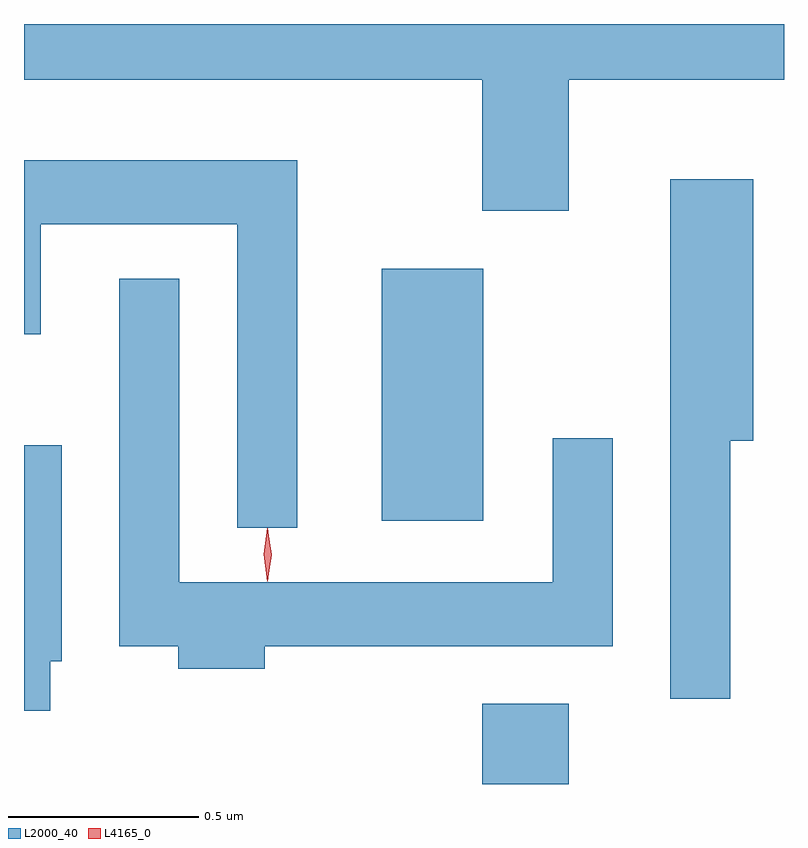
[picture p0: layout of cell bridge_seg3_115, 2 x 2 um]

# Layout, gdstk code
import gdstk
lib = gdstk.Library(unit=1e-6, precision=1e-09)
def R(c, l, rs):  # rectangles x0, y0, x1, y1
    for r in rs: c.add(gdstk.rectangle(r[:2], r[2:], *l))
def P(c, l, *ps):  # polygons
    for p in ps: c.add(gdstk.Polygon(p, *l))
L2000_40 = (2000, 40)
L4165_0 = (4165, 0)

bridge_seg3_115 = lib.new_cell('bridge_seg3_115')
R(bridge_seg3_115, L2000_40, [(1024.711,1215.183,1024.939,1215.394), (1024.446,1215.876,1024.714,1216.539)])
P(bridge_seg3_115, L2000_40, [(1024.939,1217.036),(1025.505,1217.036),(1025.505,1217.183),(1023.505,1217.183),(1023.505,1217.036),(1024.711,1217.036),(1024.711,1216.691),(1024.939,1216.691)],
  [(1024.224,1216.824),(1023.505,1216.824),(1023.505,1216.366),(1023.549,1216.366),(1023.549,1216.656),(1024.066,1216.656),(1024.066,1215.858),(1024.224,1215.858)],
  [(1025.364,1216.086),(1025.424,1216.086),(1025.424,1216.774),(1025.206,1216.774),(1025.206,1215.408),(1025.364,1215.408)],
  [(1024.139,1215.546),(1025.054,1215.546),(1025.054,1216.093),(1024.896,1216.093),(1024.896,1215.714),(1023.914,1215.714),(1023.914,1216.513),(1023.756,1216.513),(1023.756,1215.546),(1023.911,1215.546),(1023.911,1215.486),(1024.139,1215.486)],
  [(1023.574,1215.506),(1023.604,1215.506),(1023.604,1216.074),(1023.505,1216.074),(1023.505,1215.376),(1023.574,1215.376)])
P(bridge_seg3_115, L4165_0, [(1024.145,1215.717),(1024.136,1215.787),(1024.145,1215.856),(1024.146,1215.856),(1024.146,1215.856),(1024.156,1215.787),(1024.146,1215.717),(1024.146,1215.717)],
  [(1024.147,1215.719),(1024.146,1215.72),(1024.137,1215.786),(1024.146,1215.852),(1024.147,1215.853),(1024.147,1215.852),(1024.157,1215.786),(1024.147,1215.72)])

lib.write_gds('bridge_seg3_115.gds')
